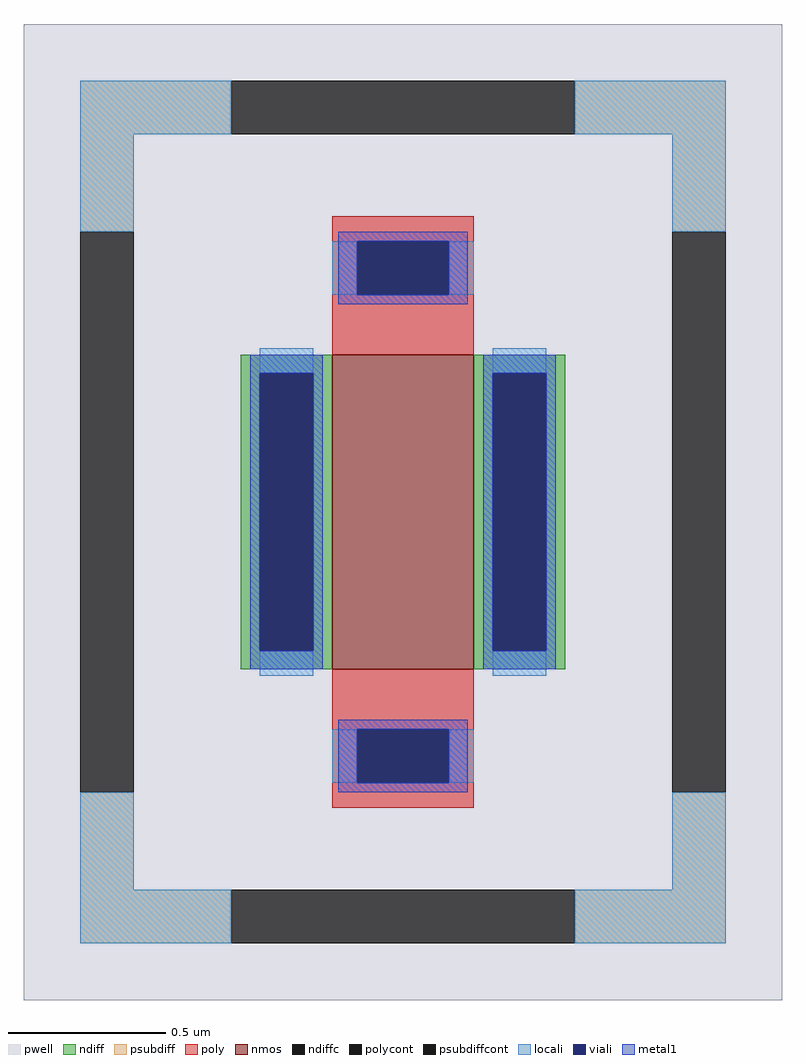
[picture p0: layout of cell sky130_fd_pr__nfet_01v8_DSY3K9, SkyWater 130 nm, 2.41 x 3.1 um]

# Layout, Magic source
magic
tech sky130A
magscale 1 2
<< pwell >>
rect -241 -310 241 310
<< nmos >>
rect -45 -100 45 100
<< ndiff >>
rect -103 88 -45 100
rect -103 -88 -91 88
rect -57 -88 -45 88
rect -103 -100 -45 -88
rect 45 88 103 100
rect 45 -88 57 88
rect 91 -88 103 88
rect 45 -100 103 -88
<< ndiffc >>
rect -91 -88 -57 88
rect 57 -88 91 88
<< psubdiff >>
rect -205 240 -109 274
rect 109 240 205 274
rect -205 178 -171 240
rect 171 178 205 240
rect -205 -240 -171 -178
rect 171 -240 205 -178
rect -205 -274 -109 -240
rect 109 -274 205 -240
<< psubdiffcont >>
rect -109 240 109 274
rect -205 -178 -171 178
rect 171 -178 205 178
rect -109 -274 109 -240
<< poly >>
rect -45 172 45 188
rect -45 138 -29 172
rect 29 138 45 172
rect -45 100 45 138
rect -45 -138 45 -100
rect -45 -172 -29 -138
rect 29 -172 45 -138
rect -45 -188 45 -172
<< polycont >>
rect -29 138 29 172
rect -29 -172 29 -138
<< locali >>
rect -205 240 -109 274
rect 109 240 205 274
rect -205 178 -171 240
rect 171 178 205 240
rect -45 138 -29 172
rect 29 138 45 172
rect -91 88 -57 104
rect -91 -104 -57 -88
rect 57 88 91 104
rect 57 -104 91 -88
rect -45 -172 -29 -138
rect 29 -172 45 -138
rect -205 -240 -171 -178
rect 171 -240 205 -178
rect -205 -274 -109 -240
rect 109 -274 205 -240
<< viali >>
rect -29 138 29 172
rect -91 -88 -57 88
rect 57 -88 91 88
rect -29 -172 29 -138
<< metal1 >>
rect -41 172 41 178
rect -41 138 -29 172
rect 29 138 41 172
rect -41 132 41 138
rect -97 88 -51 100
rect -97 -88 -91 88
rect -57 -88 -51 88
rect -97 -100 -51 -88
rect 51 88 97 100
rect 51 -88 57 88
rect 91 -88 97 88
rect 51 -100 97 -88
rect -41 -138 41 -132
rect -41 -172 -29 -138
rect 29 -172 41 -138
rect -41 -178 41 -172
<< properties >>
string FIXED_BBOX -188 -257 188 257
string gencell sky130_fd_pr__nfet_01v8
string library sky130
string parameters w 1.0 l 0.45 m 1 nf 1 diffcov 100 polycov 100 guard 1 glc 1 grc 1 gtc 1 gbc 1 tbcov 100 rlcov 100 topc 1 botc 1 poverlap 0 doverlap 1 lmin 0.15 wmin 0.42 compatible {sky130_fd_pr__nfet_01v8 sky130_fd_pr__nfet_01v8_lvt  sky130_fd_bs_flash__special_sonosfet_star  sky130_fd_pr__nfet_g5v0d10v5 sky130_fd_pr__nfet_05v0_nvt  sky130_fd_pr__nfet_03v3_nvt} full_metal 1 viasrc 100 viadrn 100 viagate 100 viagb 0 viagr 0 viagl 0 viagt 0
<< end >>
